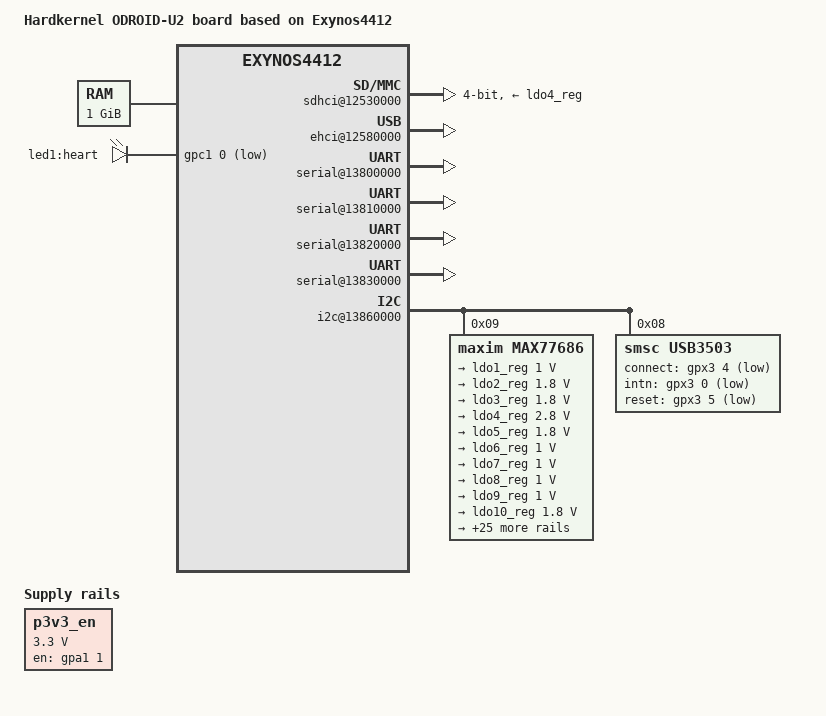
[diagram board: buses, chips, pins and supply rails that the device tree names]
/*
 * Hardkernel's Exynos4412 based ODROID-X board device tree source
 *
 * Copyright (c) 2012 Dongjin Kim <tobetter@gmail.com>
 *
 * Device tree source file for Hardkernel's ODROID-X board which is based on
 * Samsung's Exynos4412 SoC.
 *
 * This program is free software; you can redistribute it and/or modify
 * it under the terms of the GNU General Public License version 2 as
 * published by the Free Software Foundation.
*/

/dts-v1/;
#include "exynos4412.dtsi"

/ {
	model = "Hardkernel ODROID-U2 board based on Exynos4412";
	compatible = "hardkernel,odroid-u2", "samsung,exynos4412";

	memory {
		reg = <0x40000000 0x40000000>;
	};

	chosen {
		bootargs = "root=/dev/mmcblk0p2 rw init=/sbin/init mem=2047M console=ttySAC1,115200N8 rootdelay=5 panic=5";
	};

	leds {
		compatible = "gpio-leds";
		led1 {
			label = "led1:heart";
			gpios = <&gpc1 0 1>;
			default-state = "on";
			linux,default-trigger = "heartbeat";
		};
	};

	mshc@12550000 {
		#address-cells = <1>;
		#size-cells = <0>;
		pinctrl-0 = <&sd4_clk &sd4_cmd &sd4_bus4 &sd4_bus8>;
		pinctrl-names = "default";
		vmmc-supply = <&ldo20_reg &ldo22_reg>;
		status = "okay";

		num-slots = <1>;
		supports-highspeed;
		broken-cd;
		fifo-depth = <0x80>;
		card-detect-delay = <200>;
		samsung,dw-mshc-ciu-div = <3>;
		samsung,dw-mshc-sdr-timing = <2 3>;
		samsung,dw-mshc-ddr-timing = <1 2>;

		slot@0 {
			reg = <0>;
			bus-width = <8>;
		};
	};

	regulator_p3v3 {
		compatible = "regulator-fixed";
		regulator-name = "p3v3_en";
		regulator-min-microvolt = <3300000>;
		regulator-max-microvolt = <3300000>;
		gpio = <&gpa1 1 3>;
		enable-active-high;
		regulator-always-on;
	};

	rtc@10070000 {
		status = "okay";
	};

	tmu@100C0000 {
		compatible = "samsung,exynos4412-tmu";
		interrupt-parent = <&combiner>;
		reg = <0x100C0000 0x100>;
		interrupts = <2 4>;
		clocks = <&clock 353>; /* no clock assigned ? */
		clock-names = "tmu_apbif";
	};

	sdhci@12530000 {
		bus-width = <4>;
		pinctrl-0 = <&sd2_clk &sd2_cmd &sd2_cd &sd2_bus4>;
		pinctrl-names = "default";
		vmmc-supply = <&ldo4_reg &ldo21_reg>;
		status = "okay";
	};

	ehci@12580000 {
		status = "okay";
	};

	usbphy@125B00000 {
		#address-cells = <1>;
		#size-cells = <1>;
		compatible = "samsung,exynos4x12-usb2phy";
		reg = <0x125B0000 0x100>;
		ranges;

		clocks = <&clock 2>, <&clock 305>;
		clock-names = "xusbxti", "otg";

		usbphy-sys {
			/* USB device and host PHY_CONTROL registers */
			reg = <0x10020704 0xc>,
			<0x1001021c 0x4>;
		};
	};

	serial@13800000 {
		status = "okay";
	};

	serial@13810000 {
		status = "okay";
	};

	serial@13820000 {
		status = "okay";
	};

	serial@13830000 {
		status = "okay";
	};

	firmware@0x0204F000 {
		compatible = "samsung,secure-firmware";
		reg = <0x0204f0000 0x1000>;
	};

	fixed-rate-clocks {
		xxti {
			compatible = "samsung,clock-xxti";
			clock-frequency = <0>;
		};

		xusbxti {
			compatible = "samsung,clock-xusbxti";
			clock-frequency = <24000000>;
		};
	};

	i2c@13860000 {
		pinctrl-0 = <&i2c0_bus>;
		pinctrl-names = "default";
		status = "okay";

		max77686: pmic@09 {
			compatible = "maxim,max77686";
			reg = <0x09>;

			voltage-regulators {
				ldo1_reg: LDO1 {
					regulator-name = "VDD_ALIVE_1.0V";
					regulator-min-microvolt = <1000000>;
					regulator-max-microvolt = <1000000>;
					regulator-always-on;
				};

				ldo2_reg: LDO2 {
					regulator-name = "VDDQ_M1_2_1.8V";
					regulator-min-microvolt = <1800000>;
					regulator-max-microvolt = <1800000>;
					regulator-always-on;
				};

				ldo3_reg: LDO3 {
					regulator-name = "VDDQ_EXT_1.8V";
					regulator-min-microvolt = <1800000>;
					regulator-max-microvolt = <1800000>;
					regulator-always-on;
				};

				ldo4_reg: LDO4 {
					regulator-name = "VDDQ_MMC2_2.8V";
					regulator-min-microvolt = <2800000>;
					regulator-max-microvolt = <2800000>;
					regulator-always-on;
				};

				ldo5_reg: LDO5 {
					regulator-name = "VDDQ_MMC1_3_1.8V";
					regulator-min-microvolt = <1800000>;
					regulator-max-microvolt = <1800000>;
					regulator-always-on;
				};

				ldo6_reg: LDO6 {
					regulator-name = "VDD10_MPLL_1.0V";
					regulator-min-microvolt = <1000000>;
					regulator-max-microvolt = <1000000>;
					regulator-always-on;
				};

				ldo7_reg: LDO7 {
					regulator-name = "VDD10_XPLL_1.0V";
					regulator-min-microvolt = <1000000>;
					regulator-max-microvolt = <1000000>;
					regulator-always-on;
				};

				ldo8_reg: LDO8 {
					regulator-name = "VDD_HDMI_1.0V";
					regulator-min-microvolt = <1000000>;
					regulator-max-microvolt = <1000000>;
					regulator-always-on;
				};

				ldo9_reg: LDO9 {
					regulator-name = "VDD_VTCORE_1.0V";
					regulator-min-microvolt = <1000000>;
					regulator-max-microvolt = <1000000>;
				};

				ldo10_reg: LDO10 {
					regulator-name = "VDDQ_MIPIHSI_1.8V";
					regulator-min-microvolt = <1800000>;
					regulator-max-microvolt = <1800000>;
					regulator-always-on;
				};

				ldo11_reg: LDO11 {
					regulator-name = "VDD18_ABB1_1.8V";
					regulator-min-microvolt = <1800000>;
					regulator-max-microvolt = <1800000>;
					regulator-always-on;
				};

				ldo12_reg: LDO12 {
					regulator-name = "VDD33_USB_3.3V";
					regulator-min-microvolt = <3300000>;
					regulator-max-microvolt = <3300000>;
					regulator-always-on;
				};

				ldo13_reg: LDO13 {
					regulator-name = "VDDQ_C2C_W_1.8V";
					regulator-min-microvolt = <1800000>;
					regulator-max-microvolt = <1800000>;
					regulator-always-on;
				};

				ldo14_reg: LDO14 {
					regulator-name = "VDD18_ABB0_2_1.8V";
					regulator-min-microvolt = <1800000>;
					regulator-max-microvolt = <1800000>;
					regulator-always-on;
				};

				ldo15_reg: LDO15 {
					regulator-name = "VDD10_HSIC_1.0V";
					regulator-min-microvolt = <1000000>;
					regulator-max-microvolt = <1000000>;
					regulator-always-on;
				};

				ldo16_reg: LDO16 {
					regulator-name = "VDD18_HSIC_1.8V";
					regulator-min-microvolt = <1800000>;
					regulator-max-microvolt = <1800000>;
					regulator-always-on;
				};

				ldo17_reg: LDO17 {
					regulator-name = "VDDQ_CAM_1.8V";
					regulator-min-microvolt = <1800000>;
					regulator-max-microvolt = <1800000>;
					regulator-always-on;
				};

				ldo18_reg: LDO18 {
					regulator-name = "VDD_LDO18_1.8V";
					regulator-min-microvolt = <1800000>;
					regulator-max-microvolt = <1800000>;
				};

				ldo19_reg: LDO19 {
					regulator-name = "VDD_VTCAM_1.8V";
					regulator-min-microvolt = <1800000>;
					regulator-max-microvolt = <1800000>;
				};

				ldo20_reg: LDO20 {
					regulator-name = "LDO20_1.8V";
					regulator-min-microvolt = <1800000>;
					regulator-max-microvolt = <1800000>;
					regulator-always-on;
				};

				ldo21_reg: LDO21 {
					regulator-name = "VDD_TFLASH_2.8V";
					regulator-min-microvolt = <2800000>;
					regulator-max-microvolt = <2800000>;
					regulator-always-on;
				};

				ldo22_reg: LDO22 {
					regulator-name = "VDD_LDO22_2.8V";
					regulator-min-microvolt = <2800000>;
					regulator-max-microvolt = <2800000>;
					regulator-always-on;
				};

				ldo23_reg: LDO23 {
					regulator-name = "VDD_TOUCH_2.8V";
					regulator-min-microvolt = <2800000>;
					regulator-max-microvolt = <2800000>;
				};

				ldo24_reg: LDO24 {
					regulator-name = "VDD_TOUCHLED_3.3V";
					regulator-min-microvolt = <3300000>;
					regulator-max-microvolt = <3300000>;
				};

				ldo25_reg: LDO25 {
					regulator-name = "VDDQ_LCD_1.8V";
					regulator-min-microvolt = <1800000>;
					regulator-max-microvolt = <1800000>;
					regulator-always-on;
				};

				ldo26_reg: LDO26 {
					regulator-name = "VDD_MOTOR_3.0V";
					regulator-min-microvolt = <3000000>;
					regulator-max-microvolt = <3000000>;
				};

				buck1_reg: BUCK1 {
					regulator-name = "vdd_mif";
					regulator-min-microvolt = <1100000>;
					regulator-max-microvolt = <1100000>;
					regulator-always-on;
					regulator-boot-on;
				};

				buck2_reg: BUCK2 {
					regulator-name = "vdd_arm";
					regulator-min-microvolt = <800000>;
					regulator-max-microvolt = <1500000>;
					regulator-always-on;
					regulator-boot-on;
				};

				buck3_reg: BUCK3 {
					regulator-name = "vdd_int";
					regulator-min-microvolt = <1125000>;
					regulator-max-microvolt = <1125000>;
					regulator-always-on;
					regulator-boot-on;
				};

				buck4_reg: BUCK4 {
					regulator-name = "vdd_g3d";
					regulator-min-microvolt = <850000>;
					regulator-max-microvolt = <1200000>;
					regulator-microvolt-offset = <50000>;
				};

				buck5_reg: BUCK5 {
					regulator-name = "VDDQ_CKEM1_2_1.2V";
					regulator-min-microvolt = <1200000>;
					regulator-max-microvolt = <1200000>;
					regulator-always-on;
					regulator-boot-on;
				};

				buck6_reg: BUCK6 {
					regulator-name = "BUCK6_1.35V";
					regulator-min-microvolt = <1350000>;
					regulator-max-microvolt = <1350000>;
					regulator-always-on;
					regulator-boot-on;
				};

				buck7_reg: BUCK7 {
					regulator-name = "BUCK7_2.0V";
					regulator-min-microvolt = <2000000>;
					regulator-max-microvolt = <2000000>;
					regulator-always-on;
				};

				buck8_reg: BUCK8 {
					regulator-name = "BUCK8_3.3V";
					regulator-min-microvolt = <3300000>;
					regulator-max-microvolt = <3300000>;
					regulator-always-on;
				};

				buck9_reg: BUCK9 {
					regulator-name = "BUCK9_1.2V";
					regulator-min-microvolt = <1200000>;
					regulator-max-microvolt = <1200000>;
				};
			};
		};

		usb3503@08 {
			compatible = "smsc,usb3503";
			reg = <0x08>;
			connect-gpios = <&gpx3 4 1>;
			intn-gpios = <&gpx3 0 1>;
			reset-gpios = <&gpx3 5 1>;
			initial-mode = <1>;
		};
	};
};
